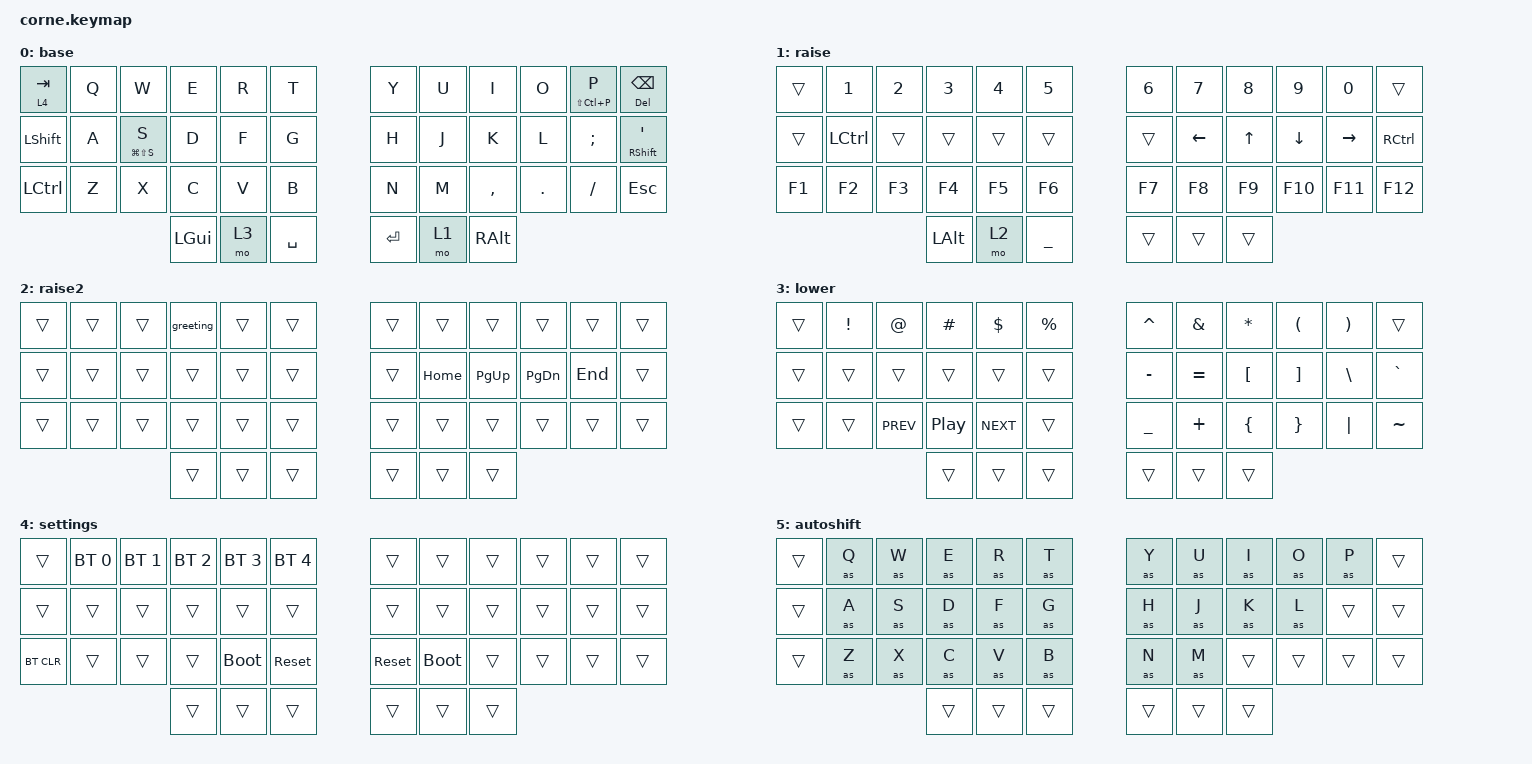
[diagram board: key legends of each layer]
#include <behaviors.dtsi>
#include <dt-bindings/zmk/bt.h>
#include <dt-bindings/zmk/keys.h>

// dt-formatter: indent = "  "
// dt-formatter: multilineIntegerCellsIndent = "reindent"
// dt-formatter: multilineListCommaStyle = "leading"

&sk { /delete-property/ ignore-modifiers; };

/ {
  combos {
    compatible = "zmk,combos";

    tab {
      key-positions = <2 3>;
      bindings = <&kp TAB>;
    };

    ctrl {
      key-positions = <26 27>;
      bindings = <&kp LCTRL>;
    };

    shift {
      key-positions = <8 9>;
      bindings = <&kp LSHIFT>;
    };

    caps_word {
      key-positions = <17 18>;
      bindings = <&caps_word>;
    };

    delete {
      key-positions = <32 33>;
      bindings = <&kp DEL>;
    };
  };

  macros {
    greeting: greeting {
      compatible = "zmk,behavior-macro";
      #binding-cells = <0>;
      label = "greeting";
      bindings = <&kp H &kp E &kp L &kp L &kp O>;
    };

    shift: with_lshift {
      compatible = "zmk,behavior-macro-one-param";
      #binding-cells = <1>;
      label = "KEY_PRESS_WITH_LEFT_SHIFT_MODIFIER";
      bindings
        = <&macro_press>
        , <&kp LSHFT>
        , <&macro_tap>
        , <&macro_param_1to1 &kp MACRO_PLACEHOLDER>
        , <&macro_release>
        , <&kp LSHFT>
        ;
    };

    as: autoshift {
      compatible = "zmk,behavior-macro-one-param";
      #binding-cells = <1>;
      label = "AUTOSHIFT_KEYPRESS";
      bindings
        = <&macro_press>
        , <&macro_param_1to1 &macro_param_1to2 &as_ht MACRO_PLACEHOLDER MACRO_PLACEHOLDER>
        , <&macro_pause_for_release>
        , <&macro_release>
        , <&macro_param_1to1 &macro_param_1to2 &as_ht MACRO_PLACEHOLDER MACRO_PLACEHOLDER>
        ;
    };
  };

  behaviors {
    as_ht: autoshift_hold_tap {
      compatible = "zmk,behavior-hold-tap";
      #binding-cells = <2>;
      label = "AUTOSHIFT_HOLD_TAP";
      bindings = <&shift>, <&kp>;

      tapping-term-ms = <190>;
    };

    hml: homewrow_mods_left {
      compatible = "zmk,behavior-hold-tap";
      #binding-cells = <2>;
      label = "HOMEROW_MODS_LEFT_HAND";
      bindings = <&kp>, <&kp>;

      tapping-term-ms = <200>;
      hold-trigger-key-positions = <6 7 8 9 10 11 18 19 20 21 22 23 30 31 32 33 34 35 39 40 41>;
    };

    hmr: homewrow_mods_right {
      compatible = "zmk,behavior-hold-tap";
      #binding-cells = <2>;
      label = "HOMEROW_MODS_RIGHT_HAND";
      bindings = <&kp>, <&kp>;

      tapping-term-ms = <200>;
      hold-trigger-key-positions = <0 1 2 3 4 5 12 13 14 15 16 17 24 25 26 27 28 29 36 37 38>;
    };

    capdance: capdance {
      compatible = "zmk,behavior-tap-dance";
      label = "CAPDANCE";
      #binding-cells = <0>;
      bindings = <&caps_word>, <&kp CAPS>;
    };

    soh: shift_on_hold {
      compatible = "zmk,behavior-hold-tap";
      label = "SHIFT_ON_HOLD";
      bindings = <&mo>, <&kp>;

      #binding-cells = <2>;
      tapping-term-ms = <200>;
      flavor = "tap-preferred";
    };
  };

  conditional_layers { compatible = "zmk,conditional-layers"; };

  keymap {
    compatible = "zmk,keymap";

    base {
      bindings = <
        &soh 4 TAB        &kp Q  &kp W            &kp E     &kp R  &kp T        &kp Y    &kp U  &kp I      &kp O    &mt LS(LC(P)) P  &mt DEL BACKSPACE
        &kp LEFT_SHIFT    &kp A  &mt LG(LS(S)) S  &kp D     &kp F  &kp G        &kp H    &kp J  &kp K      &kp L    &kp SEMICOLON    &hmr RIGHT_SHIFT SINGLE_QUOTE
        &kp LEFT_CONTROL  &kp Z  &kp X            &kp C     &kp V  &kp B        &kp N    &kp M  &kp COMMA  &kp DOT  &kp FSLH         &kp ESC
                                                  &kp LGUI  &mo 3  &kp SPACE    &kp RET  &mo 1  &kp RALT
      >;

      label = "base";
    };

    raise {
      bindings = <
        &trans  &kp N1     &kp N2  &kp N3        &kp N4  &kp N5            &kp N6  &kp N7    &kp N8  &kp N9    &kp N0     &trans
        &trans  &kp LCTRL  &trans  &trans        &trans  &trans            &trans  &kp LEFT  &kp UP  &kp DOWN  &kp RIGHT  &kp RCTRL
        &kp F1  &kp F2     &kp F3  &kp F4        &kp F5  &kp F6            &kp F7  &kp F8    &kp F9  &kp F10   &kp F11    &kp F12
                                   &kp LEFT_ALT  &mo 2   &kp UNDERSCORE    &trans  &trans    &trans
      >;

      label = "raise";
    };

    raise2 {
      bindings = <
        &trans  &trans  &trans  &greeting  &trans  &trans    &trans  &trans    &trans     &trans     &trans   &trans
        &trans  &trans  &trans  &trans     &trans  &trans    &trans  &kp HOME  &kp PG_UP  &kp PG_DN  &kp END  &trans
        &trans  &trans  &trans  &trans     &trans  &trans    &trans  &trans    &trans     &trans     &trans   &trans
                                &trans     &trans  &trans    &trans  &trans    &trans
      >;

      label = "raise2";
    };

    lower {
      bindings = <
        &trans  &kp EXCL  &kp AT      &kp HASH  &kp DLLR    &kp PRCNT    &kp CARET  &kp AMPS   &kp STAR  &kp LPAR  &kp RPAR  &trans
        &trans  &trans    &trans      &trans    &trans      &trans       &kp MINUS  &kp EQUAL  &kp LBKT  &kp RBKT  &kp BSLH  &kp GRAVE
        &trans  &trans    &kp C_PREV  &kp C_PP  &kp C_NEXT  &trans       &kp UNDER  &kp PLUS   &kp LBRC  &kp RBRC  &kp PIPE  &kp TILDE
                                      &trans    &trans      &trans       &trans     &trans     &trans
      >;

      label = "lower";
    };

    settings {
      bindings = <
        &trans      &bt BT_SEL 0  &bt BT_SEL 1  &bt BT_SEL 2  &bt BT_SEL 3  &bt BT_SEL 4    &trans      &trans       &trans  &trans  &trans  &trans
        &trans      &trans        &trans        &trans        &trans        &trans          &trans      &trans       &trans  &trans  &trans  &trans
        &bt BT_CLR  &trans        &trans        &trans        &bootloader   &sys_reset      &sys_reset  &bootloader  &trans  &trans  &trans  &trans
                                                &trans        &trans        &trans          &trans      &trans       &trans
      >;

      label = "settings";
    };

    autoshift {
      bindings = <
        &trans  &as Q  &as W  &as E   &as R   &as T     &as Y   &as U   &as I   &as O   &as P   &trans
        &trans  &as A  &as S  &as D   &as F   &as G     &as H   &as J   &as K   &as L   &trans  &trans
        &trans  &as Z  &as X  &as C   &as V   &as B     &as N   &as M   &trans  &trans  &trans  &trans
                              &trans  &trans  &trans    &trans  &trans  &trans
      >;
    };
  };
};
